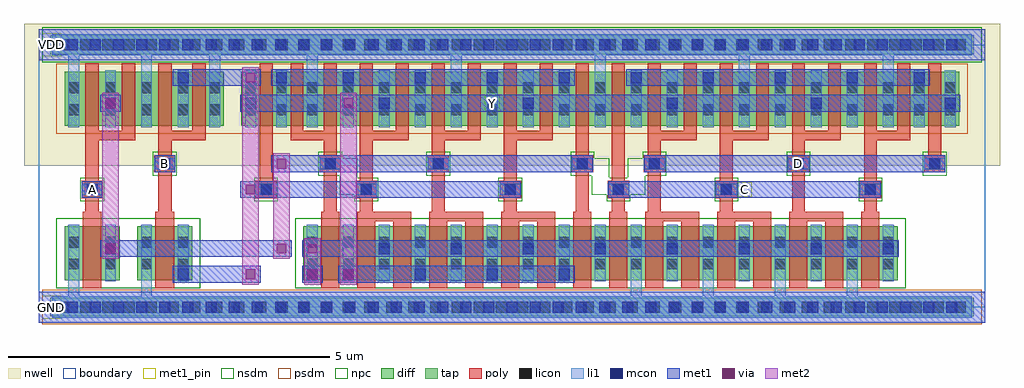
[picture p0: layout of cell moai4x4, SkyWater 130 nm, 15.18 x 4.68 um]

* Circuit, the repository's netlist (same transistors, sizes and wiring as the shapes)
** sch_path: /foss/designs/moai4x4.sch
.subckt moai4x4 A VDD GND B D C Y
*.PININFO A:I VDD:B GND:B B:I D:I C:I Y:O
XM9 Anot A GND GND sky130_fd_pr__nfet_01v8 L=0.29 W=0.84 nf=1
XM10 Anot A VDD VDD sky130_fd_pr__pfet_01v8 L=0.21 W=1.68 nf=2
XM4 Y Anot net3 GND sky130_fd_pr__nfet_01v8 L=0.28 W=3.36 nf=4
XM7 net1 Anot VDD VDD sky130_fd_pr__pfet_01v8 L=0.2 W=4.2 nf=5
XM1 Y Bnot net1 VDD sky130_fd_pr__pfet_01v8 L=0.2 W=4.2 nf=5
XM2 Y D net2 VDD sky130_fd_pr__pfet_01v8 L=0.2 W=4.2 nf=5
XM8 net2 C VDD VDD sky130_fd_pr__pfet_01v8 L=0.2 W=4.2 nf=5
XM11 Bnot B VDD VDD sky130_fd_pr__pfet_01v8 L=0.21 W=1.68 nf=2
XM12 Bnot B GND GND sky130_fd_pr__nfet_01v8 L=0.29 W=0.84 nf=1
XM3 net3 C GND GND sky130_fd_pr__nfet_01v8 L=0.28 W=3.36 nf=4
XM5 net3 D GND GND sky130_fd_pr__nfet_01v8 L=0.28 W=3.36 nf=4
XM6 Y Bnot net3 GND sky130_fd_pr__nfet_01v8 L=0.28 W=3.36 nf=4
.ends

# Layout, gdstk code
import gdstk
lib = gdstk.Library(unit=1e-6, precision=1e-09)
def R(c, l, rs):  # rectangles x0, y0, x1, y1
    for r in rs: c.add(gdstk.rectangle(r[:2], r[2:], *l))
def A(c, l, x, y, w, h, nx, ny, dx, dy):  # array of equal rectangles
    R(c, l, [(x+i*dx, y+j*dy, x+i*dx+w, y+j*dy+h) for i in range(nx) for j in range(ny)])
nwell = (64, 20)
diff = (65, 20)
tap = (65, 44)
poly = (66, 20)
licon = (66, 44)
li1 = (67, 20)
mcon = (67, 44)
met1_pin = (68, 16)
met1 = (68, 20)
via = (68, 44)
met2 = (69, 20)
nsdm = (93, 44)
psdm = (94, 20)
npc = (95, 20)
boundary = (235, 4)

moai4x4 = lib.new_cell('moai4x4')
R(moai4x4, nwell, [(-0.23,2.2,14.95,4.41)])
R(moai4x4, diff, [(0.4,0.42,1.26,1.26), (1.53,0.42,2.39,1.26), (4.11,0.42,13.36,1.26), (0.4,2.82,2.88,3.66), (3.15,2.82,14.32,3.66)])
R(moai4x4, tap, [(0.18,-0.145,14.54,0.145), (0.18,3.935,14.54,4.225)])
A(moai4x4, poly, 4.955, 0.29, 0.28, 1.045, 6, 1, 0.56, 0)
A(moai4x4, poly, 9.435, 0.29, 0.28, 1.045, 6, 1, 0.56, 0)
A(moai4x4, poly, 4.955, 1.335, 0.84, 0.15, 3, 1, 1.12, 0)
A(moai4x4, poly, 9.435, 1.335, 0.84, 0.15, 3, 1, 1.12, 0)
A(moai4x4, poly, 7.235, 1.485, 0.2, 0.21, 3, 1, 1.68, 0)
A(moai4x4, poly, 7.17, 1.695, 0.33, 0.27, 3, 1, 1.68, 0)
A(moai4x4, poly, 4.995, 2.595, 0.76, 0.15, 3, 1, 1.12, 0)
A(moai4x4, poly, 9.475, 2.595, 0.76, 0.15, 3, 1, 1.12, 0)
A(moai4x4, poly, 0.725, 2.745, 0.21, 1.045, 3, 1, 0.565, 0)
A(moai4x4, poly, 4.435, 2.745, 0.2, 1.045, 7, 1, 0.56, 0)
A(moai4x4, poly, 9.475, 2.745, 0.2, 1.045, 7, 1, 0.56, 0)
R(moai4x4, poly, [(0.685,0.29,0.975,1.485), (1.815,0.29,2.105,1.485), (4.395,0.29,4.675,1.485), (8.315,0.29,8.595,1.485), (8.875,0.29,9.155,1.485), (12.795,0.29,13.075,1.485), (0.725,1.485,0.935,1.695), (1.855,1.485,2.065,2.095), (4.435,1.485,4.635,2.095), (4.995,1.485,5.195,1.695), (6.115,1.485,6.315,2.095), (8.355,1.485,8.555,2.095), (9.475,1.485,9.675,2.095), (11.715,1.485,11.915,2.095), (12.835,1.485,13.035,1.695), (0.665,1.695,0.995,1.965), (3.37,1.695,3.7,1.965), (4.93,1.695,5.26,1.965), (12.77,1.695,13.1,1.965), (0.725,1.965,0.935,2.595), (3.435,1.965,3.635,3.79), (4.995,1.965,5.195,2.595), (7.235,1.965,7.435,2.595), (8.915,1.965,9.115,3.79), (10.595,1.965,10.795,2.595), (12.835,1.965,13.035,2.595), (1.795,2.095,2.125,2.365), (4.37,2.095,4.7,2.365), (6.05,2.095,6.38,2.365), (8.29,2.095,8.62,2.365), (9.41,2.095,9.74,2.365), (11.65,2.095,11.98,2.365), (13.77,2.095,14.1,2.365), (1.855,2.365,2.065,2.595), (4.435,2.365,4.635,2.595), (6.115,2.365,6.315,2.595), (8.355,2.365,8.555,3.79), (9.475,2.365,9.675,2.595), (11.715,2.365,11.915,2.595), (13.835,2.365,14.035,3.79), (0.725,2.595,1.5,2.745), (1.855,2.595,2.595,2.745), (3.915,2.595,4.635,2.745), (12.835,2.595,13.555,2.745), (2.385,2.745,2.595,3.79), (3.915,2.745,4.115,3.79), (13.355,2.745,13.555,3.79)])
A(moai4x4, licon, 0.305, -0.085, 0.17, 0.17, 42, 2, 0.34, 4.08)
A(moai4x4, licon, 4.17, 0.585, 0.17, 0.17, 17, 2, 0.56, 0.34)
A(moai4x4, licon, 7.25, 1.745, 0.17, 0.17, 3, 1, 1.68, 0)
A(moai4x4, licon, 3.21, 2.985, 0.17, 0.17, 3, 2, 0.48, 0.34)
A(moai4x4, licon, 4.73, 2.985, 0.17, 0.17, 16, 2, 0.56, 0.34)
R(moai4x4, licon, [(0.46,0.585,0.63,0.755), (1.03,0.585,1.2,0.755), (1.59,0.585,1.76,0.755), (2.16,0.585,2.33,0.755), (0.46,0.925,0.63,1.095), (1.03,0.925,1.2,1.095), (1.59,0.925,1.76,1.095), (2.16,0.925,2.33,1.095), (0.745,1.745,0.915,1.915), (3.45,1.745,3.62,1.915), (5.01,1.745,5.18,1.915), (12.85,1.745,13.02,1.915), (1.875,2.145,2.045,2.315), (4.45,2.145,4.62,2.315), (6.13,2.145,6.3,2.315), (8.37,2.145,8.54,2.315), (9.49,2.145,9.66,2.315), (11.73,2.145,11.9,2.315), (13.85,2.145,14.02,2.315), (0.46,2.985,0.63,3.155), (1.03,2.985,1.2,3.155), (1.59,2.985,1.76,3.155), (2.16,2.985,2.33,3.155), (2.65,2.985,2.82,3.155), (13.61,2.985,13.78,3.155), (14.09,2.985,14.26,3.155), (0.46,3.325,0.63,3.495), (1.03,3.325,1.2,3.495), (1.59,3.325,1.76,3.495), (2.16,3.325,2.33,3.495), (2.65,3.325,2.82,3.495), (13.61,3.325,13.78,3.495), (14.09,3.325,14.26,3.495)])
A(moai4x4, li1, 9.21, 0.165, 0.17, 1.115, 4, 1, 1.12, 0)
A(moai4x4, li1, 4.17, 0.4, 0.17, 0.88, 9, 1, 0.56, 0)
A(moai4x4, li1, 9.77, 0.4, 0.17, 0.88, 4, 1, 1.12, 0)
A(moai4x4, li1, 7.17, 1.745, 0.33, 0.17, 3, 1, 1.68, 0)
A(moai4x4, li1, 4.17, 2.8, 0.17, 1.115, 5, 1, 2.24, 0)
A(moai4x4, li1, 4.73, 2.8, 0.17, 0.88, 3, 1, 0.56, 0)
A(moai4x4, li1, 6.97, 2.8, 0.17, 0.88, 3, 1, 0.56, 0)
A(moai4x4, li1, 9.21, 2.8, 0.17, 0.88, 3, 1, 0.56, 0)
A(moai4x4, li1, 11.45, 2.8, 0.17, 0.88, 3, 1, 0.56, 0)
R(moai4x4, li1, [(0.21,-0.165,14.51,0.165), (0.46,0.165,0.63,1.28), (1.59,0.165,1.76,1.28), (1.03,0.4,1.2,1.28), (2.16,0.4,2.33,1.28), (0.665,1.745,0.995,1.915), (3.37,1.745,3.7,1.915), (4.93,1.745,5.26,1.915), (12.77,1.745,13.1,1.915), (1.795,2.145,2.125,2.315), (4.37,2.145,4.7,2.315), (6.05,2.145,6.38,2.315), (8.29,2.145,8.62,2.315), (9.41,2.145,9.74,2.315), (11.65,2.145,11.98,2.315), (13.77,2.145,14.1,2.315), (0.46,2.8,0.63,3.915), (1.03,2.8,1.2,3.68), (1.59,2.8,1.76,3.915), (2.16,2.8,2.33,3.68), (2.65,2.8,2.82,3.915), (3.21,2.8,3.38,3.68), (3.69,2.8,3.86,3.68), (13.61,2.8,13.78,3.68), (14.09,2.8,14.26,3.68), (0.21,3.915,14.51,4.245)])
A(moai4x4, mcon, 0.435, -0.085, 0.17, 0.17, 39, 2, 0.36, 4.08)
A(moai4x4, mcon, 4.73, 0.425, 0.17, 0.17, 4, 1, 1.12, 0)
A(moai4x4, mcon, 5.29, 0.825, 0.17, 0.17, 8, 1, 1.12, 0)
A(moai4x4, mcon, 7.25, 1.745, 0.17, 0.17, 3, 1, 1.68, 0)
A(moai4x4, mcon, 5.29, 3.085, 0.17, 0.17, 4, 1, 2.24, 0)
A(moai4x4, mcon, 4.73, 3.485, 0.17, 0.17, 8, 1, 1.12, 0)
R(moai4x4, mcon, [(2.16,0.425,2.33,0.595), (4.17,0.425,4.34,0.595), (1.03,0.825,1.2,0.995), (0.745,1.745,0.915,1.915), (3.45,1.745,3.62,1.915), (5.01,1.745,5.18,1.915), (12.85,1.745,13.02,1.915), (1.875,2.145,2.045,2.315), (4.45,2.145,4.62,2.315), (6.13,2.145,6.3,2.315), (8.37,2.145,8.54,2.315), (9.49,2.145,9.66,2.315), (11.73,2.145,11.9,2.315), (13.85,2.145,14.02,2.315), (1.03,3.085,1.2,3.255), (3.21,3.085,3.38,3.255), (14.09,3.085,14.26,3.255), (2.16,3.485,2.33,3.655), (3.69,3.485,3.86,3.655), (13.61,3.485,13.78,3.655)])
R(moai4x4, met1_pin, [(0.05,-0.18,0.35,0.18), (0.715,1.715,0.945,1.945), (10.86,1.715,11.09,1.945), (1.845,2.115,2.075,2.345), (11.7,2.115,11.93,2.345), (6.94,3.055,7.17,3.285), (0.05,3.9,0.35,4.26)])
R(moai4x4, met1, [(0,-0.24,14.72,0.24), (2.085,0.38,3.455,0.64), (4.095,0.38,4.415,0.64), (4.655,0.38,8.335,0.64), (0.955,0.78,3.935,1.04), (4.095,0.78,13.375,1.04), (0.67,1.7,0.99,1.96), (3.135,1.7,7.495,1.96), (8.855,1.7,13.095,1.96), (1.8,2.1,2.12,2.36), (3.615,2.1,8.615,2.36), (9.415,2.1,14.095,2.36), (0.955,3.04,1.275,3.3), (3.135,3.04,14.335,3.3), (2.085,3.44,3.455,3.7), (3.615,3.44,8.335,3.7), (9.135,3.44,13.855,3.7), (0,3.84,14.72,4.32)])
R(moai4x4, via, [(3.22,0.435,3.37,0.585), (4.18,0.435,4.33,0.585), (4.74,0.435,4.89,0.585), (1.04,0.835,1.19,0.985), (3.7,0.835,3.85,0.985), (4.18,0.835,4.33,0.985), (3.22,1.755,3.37,1.905), (3.7,2.155,3.85,2.305), (1.04,3.095,1.19,3.245), (4.74,3.095,4.89,3.245), (3.22,3.495,3.37,3.645)])
R(moai4x4, met2, [(3.165,0.35,3.425,3.73), (4.125,0.35,4.385,1.07), (4.685,0.35,4.945,3.33), (0.985,0.75,1.245,3.33), (3.645,0.75,3.905,2.39)])
R(moai4x4, nsdm, [(0.275,0.295,2.515,1.385), (3.985,0.295,13.485,1.385), (0.055,3.81,14.665,4.35)])
R(moai4x4, psdm, [(0.055,-0.27,14.665,0.27), (0.275,2.695,14.445,3.785)])
R(moai4x4, npc, [(0.645,1.645,1.015,2.015), (3.35,1.645,3.72,2.015), (4.91,1.645,5.28,1.745), (7.15,1.645,7.52,2.015), (8.83,1.645,9.2,1.745), (10.51,1.645,10.88,2.015), (12.75,1.645,13.12,2.015), (4.68,1.745,5.28,2.015), (8.6,1.745,9.43,2.015), (4.68,2.015,4.95,2.045), (8.6,2.015,8.87,2.045), (9.16,2.015,9.43,2.045), (1.775,2.045,2.145,2.415), (4.35,2.045,4.95,2.315), (6.03,2.045,6.4,2.415), (8.27,2.045,8.87,2.315), (9.16,2.045,9.76,2.315), (11.63,2.045,12,2.415), (13.75,2.045,14.12,2.415), (4.35,2.315,4.72,2.415), (8.27,2.315,8.64,2.415), (9.39,2.315,9.76,2.415)])
R(moai4x4, boundary, [(0,0,14.72,4.08)])
moai4x4.add(gdstk.Label('A', (0.83,1.83), layer=68, texttype=5))
moai4x4.add(gdstk.Label('VDD', (0.2,4.08), layer=68, texttype=5))
moai4x4.add(gdstk.Label('GND', (0.2,0), layer=68, texttype=5))
moai4x4.add(gdstk.Label('B', (1.96,2.23), layer=68, texttype=5))
moai4x4.add(gdstk.Label('D', (11.815,2.23), layer=68, texttype=5))
moai4x4.add(gdstk.Label('C', (10.975,1.83), layer=68, texttype=5))
moai4x4.add(gdstk.Label('Y', (7.055,3.17), layer=68, texttype=5))

lib.write_gds('moai4x4.gds')
